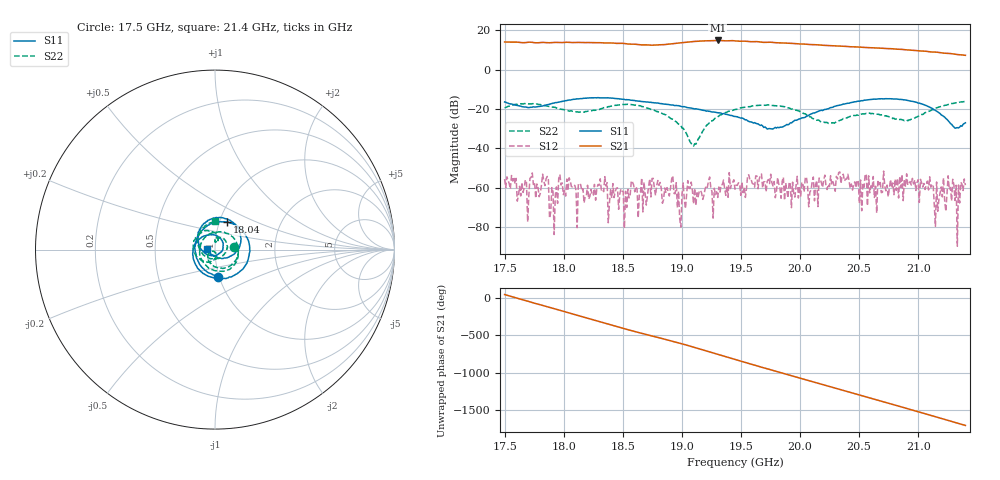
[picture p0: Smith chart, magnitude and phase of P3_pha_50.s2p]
!Created with skrf (http://scikit-rf.org).
# GHz S RI R 50.0
!freq ReS11 ImS11 ReS21 ImS21 ReS12 ImS12 ReS22 ImS22
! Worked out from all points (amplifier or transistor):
!   401 points, 17.5 GHz to 21.4 GHz, reference 50 ohm
!   highest |S21| = 14.9 dB at 19.3 GHz (marker M1)
!   |S21| within 3 dB of that: start of sweep to 20.39 GHz
!   unconditionally stable (mu >= 1): start of sweep to end of sweep
!   at 18.14 GHz: K = 80.15, MAG = 14.0 dB, |S12| = -58.3 dB
!   at 19.45 GHz: K = 98.81, MAG = 14.7 dB, |S12| = -60.7 dB
!   at 21.4 GHz: K = 179.67, MAG = 7.4 dB, |S12| = -58.7 dB
!   S11 on the Smith chart (normalised r, x): 17.5 GHz: 0.99, -0.30; 18.04 GHz: 1.08, +0.35; 21.4 GHz: 0.91, +0.01
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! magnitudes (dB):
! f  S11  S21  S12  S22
! 17.5 GHz  -16.4  14.1  -55.6  -19.4
! 17.69 GHz  -19.0  13.9  -57.4  -17.3
! 17.84 GHz  -18.1  13.8  -58.9  -18.3
! 17.9 GHz  -17.3  13.8  -59.9  -18.9
! 18.04 GHz  -15.5  13.9  -61.5  -20.8
! 18.15 GHz  -14.7  13.8  -61.5  -21.4
! 18.53 GHz  -15.2  13.1  -70.0  -17.6
! 18.59 GHz  -15.6  13.0  -58.6  -17.9
! 18.65 GHz  -16.1  12.6  -62.3  -18.3
! 18.81 GHz  -17.0  12.7  -58.8  -21.8
! 18.93 GHz  -18.1  13.3  -62.9  -25.5
! 18.98 GHz  -18.4  13.6  -75.7  -28.0
! 19.1 GHz  -19.7  14.3  -68.2  -38.8
! 19.3 GHz  -21.9  14.9  -64.9  -23.9
! 19.45 GHz  -23.8  14.7  -60.7  -20.2
! 19.75 GHz  -30.0  14.0  -53.1  -18.1
! 20.1 GHz  -22.3  12.8  -56.9  -24.7
! 20.35 GHz  -17.9  12.0  -57.8  -25.5
! 20.76 GHz  -14.7  10.7  -60.2  -24.0
! 21.1 GHz  -19.1  9.1  -54.4  -21.0
! 21.16 GHz  -21.1  8.9  -57.1  -19.4
! 21.4 GHz  -27.0  7.3  -58.7  -16.1
